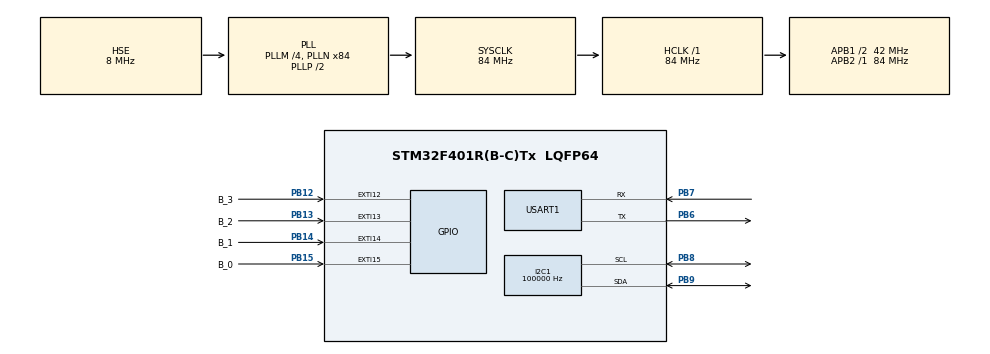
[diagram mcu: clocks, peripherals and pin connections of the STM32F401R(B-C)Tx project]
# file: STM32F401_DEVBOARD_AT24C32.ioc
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I2C1.ClockSpeed=100000
I2C1.I2C_Mode=I2C_Standard
Mcu.Family=STM32F4
Mcu.Name=STM32F401R(B-C)Tx
Mcu.Package=LQFP64
NVIC.EXTI15_10_IRQn=true\:0\:0\:false\:false\:true\:true\:true\:true
NVIC.PriorityGroup=NVIC_PRIORITYGROUP_4
PA13.Mode=Serial_Wire
PA13.Signal=SYS_JTMS-SWDIO
PA14.Mode=Serial_Wire
PA14.Signal=SYS_JTCK-SWCLK
PB12.GPIO_Label=B_3
PB12.GPIO_ModeDefaultEXTI=GPIO_MODE_IT_FALLING
PB12.GPIO_PuPd=GPIO_PULLUP
PB12.Signal=GPXTI12
PB13.GPIO_Label=B_2
PB13.GPIO_ModeDefaultEXTI=GPIO_MODE_IT_FALLING
PB13.GPIO_PuPd=GPIO_PULLUP
PB13.Signal=GPXTI13
PB14.GPIO_Label=B_1
PB14.GPIO_ModeDefaultEXTI=GPIO_MODE_IT_FALLING
PB14.GPIO_PuPd=GPIO_PULLUP
PB14.Signal=GPXTI14
PB15.GPIO_Label=B_0
PB15.GPIO_ModeDefaultEXTI=GPIO_MODE_IT_FALLING
PB15.GPIO_PuPd=GPIO_PULLUP
PB15.Signal=GPXTI15
PB6.Mode=Asynchronous
PB6.Signal=USART1_TX
PB7.Mode=Asynchronous
PB7.Signal=USART1_RX
PB8.Mode=I2C
PB8.Signal=I2C1_SCL
PB9.Mode=I2C
PB9.Signal=I2C1_SDA
PH0\ -\ OSC_IN.Mode=HSE-External-Oscillator
PH0\ -\ OSC_IN.Signal=RCC_OSC_IN
PH1\ -\ OSC_OUT.Mode=HSE-External-Oscillator
PH1\ -\ OSC_OUT.Signal=RCC_OSC_OUT
ProjectManager.HeapSize=0x200
ProjectManager.StackSize=0x400
ProjectManager.TargetToolchain=STM32CubeIDE
RCC.48MHZClocksFreq_Value=42000000
RCC.AHBFreq_Value=84000000
RCC.APB1CLKDivider=RCC_HCLK_DIV2
RCC.APB1Freq_Value=42000000
RCC.APB1TimFreq_Value=84000000
RCC.APB2Freq_Value=84000000
RCC.APB2TimFreq_Value=84000000
RCC.CortexFreq_Value=84000000
RCC.HCLKFreq_Value=84000000
RCC.HSE_VALUE=8000000
RCC.HSI_VALUE=16000000
RCC.PLLM=4
RCC.PLLN=84
RCC.PLLSourceVirtual=RCC_PLLSOURCE_HSE
RCC.SYSCLKFreq_VALUE=84000000
RCC.SYSCLKSource=RCC_SYSCLKSOURCE_PLLCLK
RCC.VCOOutputFreq_Value=168000000
USART1.VirtualMode=VM_ASYNC
board=custom

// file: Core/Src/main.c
/* USER CODE BEGIN Header */
/**
  ******************************************************************************
  * @file           : main.c
  * @brief          : Main program body
  ******************************************************************************
  * @attention
  *
  * Copyright (c) 2025 STMicroelectronics.
  * All rights reserved.
  *
  * This software is licensed under terms that can be found in the LICENSE file
  * in the root directory of this software component.
  * If no LICENSE file comes with this software, it is provided AS-IS.
  *
  ******************************************************************************
  */
/* USER CODE END Header */
#include "main.h"
#include "i2c.h"
#include "usart.h"
#include "gpio.h"

/* USER CODE BEGIN Includes */
#include "24CXX/ee24.h"
#include "BUTTONS/buttons.h"
/* USER CODE END Includes */

/* USER CODE BEGIN PD */
#define EEPROM_SIZE                      4096
#define CTRL_BYTE                  0b01010101

#define DATA_START_ADDRESS                 32
#define DATA_STOP_ADDRESS                  63
#define DATA_STRUCT_START_ADDRESS         256
#define DATA_STRUCT_STOP_ADDRESS          512
/* USER CODE END PD */

/* USER CODE BEGIN PV */
char data_str[64] = {0,};
EE24_HandleTypeDef ee24;
uint8_t dataRead_Full_ee24[EEPROM_SIZE];

bool flag_erase = false;
bool flag_show = false;
bool flag_read = false;
bool flag_write = false;
bool flag_read_struct = false;
bool flag_write_struct = false;

uint8_t DataToWrite[5] = {11, 12, 13, 14, 15};
uint8_t DataToRead[5] =  { 0,  0,  0,  0,  0};

typedef struct
{
    uint16_t raw_value;
    uint16_t temp_value;
} table_entry_t;

typedef struct
{
        uint16_t P;
        uint16_t I;
        uint16_t D;
        table_entry_t table_array[4];
} struct_entry_t;

table_entry_t TABLE_EXAMPLE[4] =
{
        {0, 0},
        {100, 200},
        {300, 900},
        {600, 4000},
};

struct_entry_t STRUCT_ARRAY[3] = {};
/* USER CODE END PV */

void SystemClock_Config(void);
/* USER CODE BEGIN PFP */
void Button_React(uint16_t key_number, bool longpress);
bool EEPROM_Init (void);
void EEPROM_Erase (void);
void EEPROM_Show (void);
/* USER CODE END PFP */

int main(void)
{

  /* MCU Configuration--------------------------------------------------------*/

  /* Reset of all peripherals, Initializes the Flash interface and the Systick. */
  HAL_Init();

  /* Configure the system clock */
  SystemClock_Config();

  /* Initialize all configured peripherals */
  MX_GPIO_Init();
  MX_I2C1_Init();
  MX_USART1_UART_Init();
  /* USER CODE BEGIN 2 */

  snprintf(data_str, 63, "AT24C32 DRIVER EXAMPLE.\n");
  HAL_UART_Transmit(&huart1, (uint8_t*)data_str, strlen(data_str), 10);

  snprintf(data_str, 63, "B_3 PRESS - show EEPROM\n");
  HAL_UART_Transmit(&huart1, (uint8_t*)data_str, strlen(data_str), 10);

  snprintf(data_str, 63, "B_3 LONG PRESS - full erase EEPROM\n");
  HAL_UART_Transmit(&huart1, (uint8_t*)data_str, strlen(data_str), 10);

  snprintf(data_str, 63, "B_2 PRESS - read data array from EEPROM\n");
  HAL_UART_Transmit(&huart1, (uint8_t*)data_str, strlen(data_str), 10);

  snprintf(data_str, 63, "B_2 LONG PRESS - read struct array from EEPROM\n");
  HAL_UART_Transmit(&huart1, (uint8_t*)data_str, strlen(data_str), 10);

  snprintf(data_str, 63, "B_1 PRESS - write data array from EEPROM\n");
  HAL_UART_Transmit(&huart1, (uint8_t*)data_str, strlen(data_str), 10);

  snprintf(data_str, 63, "B_1 LONG PRESS - write struct array from EEPROM\n");
  HAL_UART_Transmit(&huart1, (uint8_t*)data_str, strlen(data_str), 10);

  if (EEPROM_Init())
  {
        snprintf(data_str, 63, "EEPROM INIT\n");
        HAL_UART_Transmit(&huart1, (uint8_t*)data_str, strlen(data_str), 10);
        EEPROM_Show ();
  }
  else
  {
        snprintf(data_str, 63, "EEPROM NOT INIT\n");
        HAL_UART_Transmit(&huart1, (uint8_t*)data_str, strlen(data_str), 10);
  }

  // Инициация массива структур для записи
  for (uint8_t i = 0; i < 3; i++)
  {
    STRUCT_ARRAY[i].P = i + 10;
    STRUCT_ARRAY[i].I = i + 20;
    STRUCT_ARRAY[i].D = i + 30;
    for (uint8_t k = 0; k < 4; k++)
    {
      STRUCT_ARRAY[i].table_array[k] = TABLE_EXAMPLE[k];
    }
  }

  /* USER CODE END 2 */

  /* Infinite loop */
  while (1)
  {

    /* USER CODE BEGIN 3 */

    BUTTON_IRQ_Debounce(Button_React);

    if (flag_show)
    {
      EEPROM_Show ();
      flag_show = false;
    }

    if (flag_erase)
    {
      snprintf (data_str, 63, "FULL ERASE, PLEASE WAIT\n");
      HAL_UART_Transmit (&huart1, (uint8_t*) data_str, strlen (data_str), 10);
      EEPROM_Erase ();
      snprintf (data_str, 63, "ERASE COMPLETE\n");
      HAL_UART_Transmit (&huart1, (uint8_t*) data_str, strlen (data_str), 10);
      flag_erase = false;
    }

    if (flag_read)
    {
      snprintf (data_str, 63, "READ CIRCLE EEPROM\n");
      HAL_UART_Transmit (&huart1, (uint8_t*) data_str, strlen (data_str), 10);
      EE24_ReadCircle (&ee24, DATA_START_ADDRESS, DATA_STOP_ADDRESS, CTRL_BYTE, &DataToRead, sizeof(DataToRead), 10);
      snprintf (data_str, 63, "READ COMPLETE: ");
      HAL_UART_Transmit (&huart1, (uint8_t*) data_str, strlen (data_str), 10);
      for (uint8_t i = 0; i < sizeof(DataToRead); i++)
      {
        snprintf (data_str, 63, " %4d ", DataToRead[i]);
        HAL_UART_Transmit (&huart1, (uint8_t*) data_str, strlen (data_str), 10);
      }
      snprintf (data_str, 63, "\n");
      HAL_UART_Transmit (&huart1, (uint8_t*) data_str, strlen (data_str), 10);
      flag_read = false;
    }

    if (flag_write)
    {
      snprintf (data_str, 63, "WRITE CIRCLE EEPROM\n");
      HAL_UART_Transmit (&huart1, (uint8_t*) data_str, strlen (data_str), 10);
      EE24_WriteCircle (&ee24, DATA_START_ADDRESS, DATA_STOP_ADDRESS, CTRL_BYTE, &DataToWrite, sizeof(DataToWrite), 10);
      snprintf (data_str, 63, "WRITE COMPLETE\n");
      HAL_UART_Transmit (&huart1, (uint8_t*) data_str, strlen (data_str), 10);
      flag_write = false;
    }

    if (flag_read_struct)
    {
      struct_entry_t new_STRUCT_ARRAY[3] = { };
      snprintf (data_str, 63, "READ STRUCT SIZE: %4d \n", sizeof(new_STRUCT_ARRAY));
      HAL_UART_Transmit (&huart1, (uint8_t*) data_str, strlen (data_str), 10);

      EE24_ReadCircle (&ee24, DATA_STRUCT_START_ADDRESS, DATA_STRUCT_STOP_ADDRESS, CTRL_BYTE, &new_STRUCT_ARRAY, sizeof(new_STRUCT_ARRAY), 10);

      for (uint8_t i = 0; i < 3; i++)
      {
        snprintf (data_str, 63, "STRUCT[%1d]: %4d %4d %4d ", i, new_STRUCT_ARRAY[i].P, new_STRUCT_ARRAY[i].I, new_STRUCT_ARRAY[i].D);
        HAL_UART_Transmit (&huart1, (uint8_t*) data_str, strlen (data_str), 10);
        for (uint8_t k = 0; k < 4; k++)
        {
          snprintf (data_str, 63, " [ %4d %4d ] ", new_STRUCT_ARRAY[i].table_array[k].raw_value,
                    new_STRUCT_ARRAY[i].table_array[k].temp_value);
          HAL_UART_Transmit (&huart1, (uint8_t*) data_str, strlen (data_str), 10);
        }
        snprintf (data_str, 63, "\n");
        HAL_UART_Transmit (&huart1, (uint8_t*) data_str, strlen (data_str), 10);
      }
      flag_read_struct = false;
    }

    if (flag_write_struct)
    {
      snprintf (data_str, 63, "WRITE STRUCT SIZE: %4d \n", sizeof(STRUCT_ARRAY));
      HAL_UART_Transmit (&huart1, (uint8_t*) data_str, strlen (data_str), 10);

      EE24_WriteCircle (&ee24, DATA_STRUCT_START_ADDRESS, DATA_STRUCT_STOP_ADDRESS, CTRL_BYTE, &STRUCT_ARRAY, sizeof(STRUCT_ARRAY), 10);

      snprintf (data_str, 63, "WRITE COMPLETE\n");
      HAL_UART_Transmit (&huart1, (uint8_t*) data_str, strlen (data_str), 10);
      flag_write_struct = false;
    }
    HAL_Delay(10);
  }
  /* USER CODE END 3 */
}

void SystemClock_Config(void)
{
  RCC_OscInitTypeDef RCC_OscInitStruct = {0};
  RCC_ClkInitTypeDef RCC_ClkInitStruct = {0};

  /** Configure the main internal regulator output voltage
  */
  __HAL_RCC_PWR_CLK_ENABLE();
  __HAL_PWR_VOLTAGESCALING_CONFIG(PWR_REGULATOR_VOLTAGE_SCALE2);

  /** Initializes the RCC Oscillators according to the specified parameters
  * in the RCC_OscInitTypeDef structure.
  */
  RCC_OscInitStruct.OscillatorType = RCC_OSCILLATORTYPE_HSE;
  RCC_OscInitStruct.HSEState = RCC_HSE_ON;
  RCC_OscInitStruct.PLL.PLLState = RCC_PLL_ON;
  RCC_OscInitStruct.PLL.PLLSource = RCC_PLLSOURCE_HSE;
  RCC_OscInitStruct.PLL.PLLM = 4;
  RCC_OscInitStruct.PLL.PLLN = 84;
  RCC_OscInitStruct.PLL.PLLP = RCC_PLLP_DIV2;
  RCC_OscInitStruct.PLL.PLLQ = 4;
  if (HAL_RCC_OscConfig(&RCC_OscInitStruct) != HAL_OK)
  {
    Error_Handler();
  }

  /** Initializes the CPU, AHB and APB buses clocks
  */
  RCC_ClkInitStruct.ClockType = RCC_CLOCKTYPE_HCLK|RCC_CLOCKTYPE_SYSCLK
                              |RCC_CLOCKTYPE_PCLK1|RCC_CLOCKTYPE_PCLK2;
  RCC_ClkInitStruct.SYSCLKSource = RCC_SYSCLKSOURCE_PLLCLK;
  RCC_ClkInitStruct.AHBCLKDivider = RCC_SYSCLK_DIV1;
  RCC_ClkInitStruct.APB1CLKDivider = RCC_HCLK_DIV2;
  RCC_ClkInitStruct.APB2CLKDivider = RCC_HCLK_DIV1;

  if (HAL_RCC_ClockConfig(&RCC_ClkInitStruct, FLASH_LATENCY_2) != HAL_OK)
  {
    Error_Handler();
  }
}

/* USER CODE BEGIN 4 */

bool EEPROM_Init (void)
{
    if (EE24_Init(&ee24, &hi2c1, EE24_ADDRESS_DEFAULT))
        return 1;
    else
        return 0;
}

void EEPROM_Erase (void)
{
    uint8_t empty_byte = 0xFF;
    for (uint16_t  i = 0; i < EEPROM_SIZE ; i++)
    {
        EE24_Write(&ee24, i, &empty_byte, 1, 10);
    }
}

void EEPROM_Show (void)
{
    EE24_Read(&ee24, 0u, dataRead_Full_ee24, EEPROM_SIZE, 1000);
    HAL_Delay(10);

    snprintf(data_str, 63, "\n");
    HAL_UART_Transmit(&huart1, (uint8_t*)data_str, strlen(data_str), 10);

    snprintf(data_str, 63, "  EEPROM  I  ");
    HAL_UART_Transmit(&huart1, (uint8_t*)data_str, strlen(data_str), 10);

    for (uint8_t j = 0; j < 32; j++)
    {
        snprintf (data_str, 63, " %03d ", j);
        HAL_UART_Transmit (&huart1, (uint8_t*) data_str, strlen (data_str), 10);
    }
    snprintf(data_str, 63, "\n");
    HAL_UART_Transmit(&huart1, (uint8_t*)data_str, strlen(data_str), 10);

    snprintf(data_str, 63, "_____________");
    HAL_UART_Transmit(&huart1, (uint8_t*)data_str, strlen(data_str), 10);

    for (uint8_t j = 0; j < 32; j++)
    {
        snprintf (data_str, 63, "_____", j);
        HAL_UART_Transmit (&huart1, (uint8_t*) data_str, strlen (data_str), 10);
    }
    snprintf(data_str, 63, "\n");
    HAL_UART_Transmit(&huart1, (uint8_t*)data_str, strlen(data_str), 10);

    for (uint8_t i = 0; i < EEPROM_SIZE / 32; i++)
    {
        snprintf (data_str, 63, "%04d-%04d I  ", 32 * i, 32 * i + 31);
        HAL_UART_Transmit (&huart1, (uint8_t*) data_str, strlen (data_str), 10);

        for (uint8_t j = 0; j < 32; j++)
        {
            snprintf (data_str, 63, "0x%02X ", (uint8_t) dataRead_Full_ee24[32 * i + j]);
            HAL_UART_Transmit (&huart1, (uint8_t*) data_str, strlen (data_str), 10);
        }
        snprintf(data_str, 63, "\n");
        HAL_UART_Transmit(&huart1, (uint8_t*)data_str, strlen(data_str), 10);
    }
    snprintf(data_str, 63, "\n");
    HAL_UART_Transmit(&huart1, (uint8_t*)data_str, strlen(data_str), 10);
}

void Button_React(uint16_t key_number, bool longpress)
{
    switch (key_number)
    {
        case (B_3_Pin):
            if (longpress)
              flag_erase = true;
            else
              flag_show = true;
            break;
        case (B_2_Pin):
            if (longpress)
              flag_read_struct = true;
            else
              flag_read = true;
            break;
        case (B_1_Pin):
            if (longpress)
              flag_write_struct = true;
            else
              flag_write = true;
            break;
        case (B_0_Pin):

            break;
    }
}
/* USER CODE END 4 */

void Error_Handler(void)
{
  __disable_irq();
  while (1)
  {
  }
}
